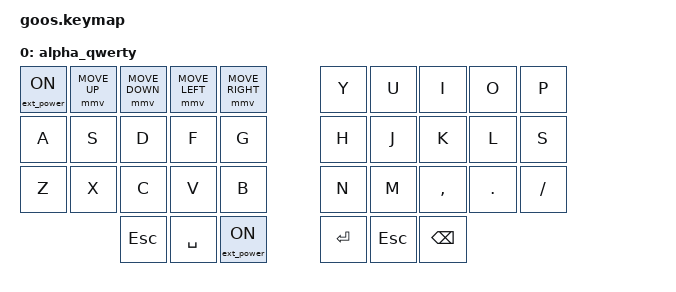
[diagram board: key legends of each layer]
/*
 * Copyright (c) 2021 The ZMK Contributors
 *
 * SPDX-License-Identifier: MIT
 */

#include <behaviors/mouse_keys.dtsi>
#include <behaviors.dtsi>
#include <dt-bindings/zmk/ext_power.h>
#include <dt-bindings/zmk/keys.h>
#include <dt-bindings/zmk/mouse.h>
#define ZMK_MOUSE_DEFAULT_MOVE_VAL 1200  // 600
#define ZMK_MOUSE_DEFAULT_SCRL_VAL 20    // 10
#define U_MS_U &mmv MOVE_UP
#define U_MS_D &mmv MOVE_DOWN
#define U_MS_L &mmv MOVE_LEFT
#define U_MS_R &mmv MOVE_RIGHT
#define U_MS_U &mmv MOVE_UP
#define U_MS_D &mmv MOVE_DOWN
#define U_MS_L &mmv MOVE_LEFT
#define U_MS_R &mmv MOVE_RIGHT
#define U_WH_U &msc SCRL_UP
#define U_WH_D &msc SCRL_DOWN
#define U_WH_L &msc SCRL_LEFT
#define U_WH_R &msc SCRL_RIGHT

/ {
    behaviors {
        td0: td0 {
            compatible = "zmk,behavior-tap-dance";
            label = "TD0";
            #binding-cells = <0>;
            bindings = <&kp LEFT_SHIFT>, <&kp CAPS>;
        };

        mmv {
            acceleration-exponent = <1>;      // 1
            time-to-max-speed-ms = <900>;    // 40
            delay-ms = <0>;                   // 0
        };

        msc {
            acceleration-exponent = <1>;      // 0
            time-to-max-speed-ms = <400>;      // 500
            delay-ms = <0>;                   // 10
        };
    };

    //  conditional_layers { compatible = "zmk,conditional-layers"; };
    // combos { compatible = "zmk,combos"; };

    keymap {
        compatible = "zmk,keymap";

        alpha_qwerty {
            bindings = <
&ext_power EP_ON  &mmv MOVE_UP  &mmv MOVE_DOWN  &mmv MOVE_LEFT  &mmv MOVE_RIGHT                                 &kp Y    &kp U     &kp I      &kp O    &kp P
&kp A             &kp S         &kp D           &kp F           &kp G                                           &kp H    &kp J     &kp K      &kp L    &kp S
&kp Z             &kp X         &kp C           &kp V           &kp B                                           &kp N    &kp M     &kp COMMA  &kp DOT  &kp SLASH
                                                &kp ESC         &kp SPACE        &ext_power EP_ON    &kp ENTER  &kp ESC  &kp BSPC
            >;
        };
    };
};
